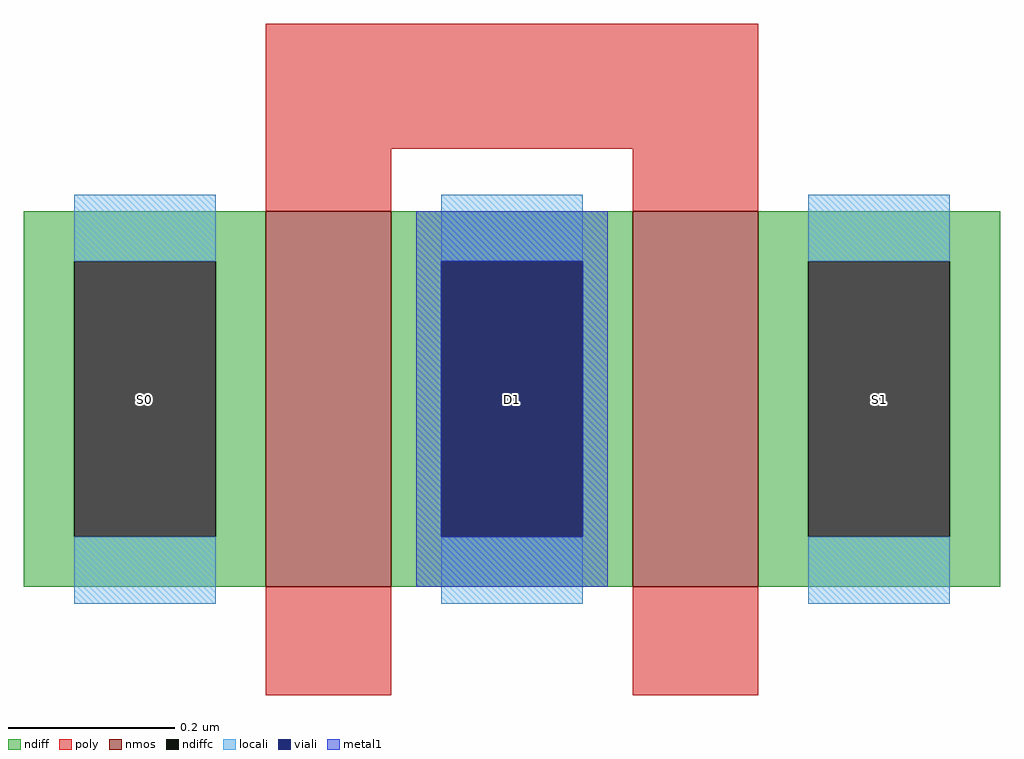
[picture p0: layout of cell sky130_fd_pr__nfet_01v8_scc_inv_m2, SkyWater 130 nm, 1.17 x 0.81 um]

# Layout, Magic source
magic
tech sky130A
magscale 1 2
<< nmos >>
rect 1511 -844 1541 -754
rect 1599 -844 1629 -754
<< ndiff >>
rect 1453 -766 1511 -754
rect 1453 -832 1465 -766
rect 1499 -832 1511 -766
rect 1453 -844 1511 -832
rect 1541 -766 1599 -754
rect 1541 -832 1553 -766
rect 1587 -832 1599 -766
rect 1541 -844 1599 -832
rect 1629 -766 1687 -754
rect 1629 -832 1641 -766
rect 1675 -832 1687 -766
rect 1629 -844 1687 -832
<< ndiffc >>
rect 1465 -832 1499 -766
rect 1553 -832 1587 -766
rect 1641 -832 1675 -766
<< poly >>
rect 1511 -739 1629 -709
rect 1511 -754 1541 -739
rect 1599 -754 1629 -739
rect 1511 -870 1541 -844
rect 1599 -870 1629 -844
<< locali >>
rect 1465 -766 1499 -750
rect 1465 -848 1499 -832
rect 1553 -766 1587 -750
rect 1553 -848 1587 -832
rect 1641 -766 1675 -750
rect 1641 -848 1675 -832
<< viali >>
rect 1553 -832 1587 -766
<< metal1 >>
rect 1547 -766 1593 -754
rect 1547 -832 1553 -766
rect 1587 -832 1593 -766
rect 1547 -844 1593 -832
<< labels >>
rlabel ndiffc 1570 -799 1570 -799 0 D1
port 3 nsew
rlabel ndiffc 1658 -799 1658 -799 0 S1
port 4 nsew
rlabel ndiffc 1570 -799 1570 -799 0 D0
port 1 nsew
rlabel ndiffc 1482 -799 1482 -799 0 S0
port 2 nsew
<< end >>
